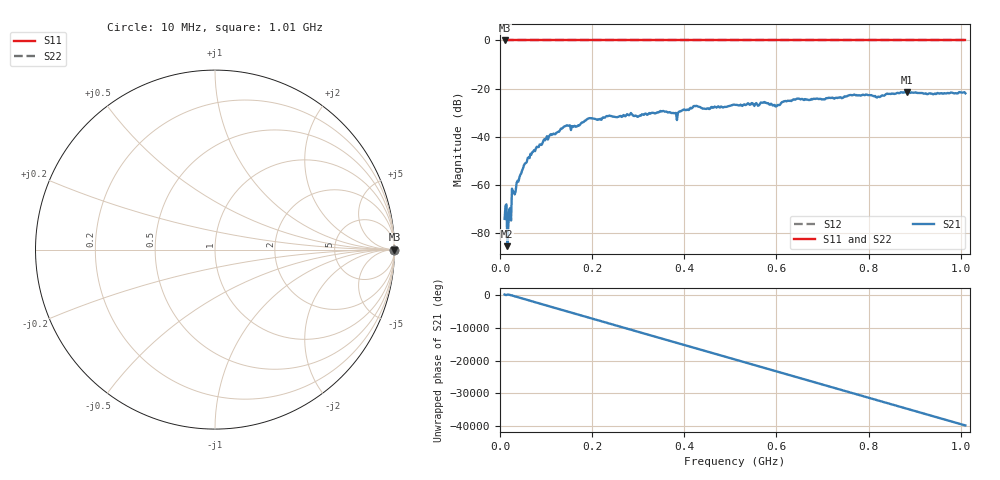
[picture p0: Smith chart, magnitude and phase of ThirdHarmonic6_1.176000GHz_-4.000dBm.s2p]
! 8/16/2025 11:57:28 AM
! C:\ANRITSUVNA\TEMP\TEMP.S2P
! CHANNEL.1
! TR.MEASUREMENT
! RAW.DATA
! RF.CORRECTION.OFF
! AVERAGING.OFF
! IF.BANDWIDTH: 5KHZ
! SWEEPTYPE:  FREQ.SWEEP(Linear)
! Reference Plane Port Info
! PORT:  PORT1  PORT2
! DISTANCE:  0  m  0  m
! TIME:  0  s  0  s
! PHASE.OFFSET:  0  deg.  0  deg.
! LOSS:  0  dB  0  dB
! REF.LOSS:  0  dB  0  dB
! REF.FREQ:  0  Hz  0  Hz
! Power Info
! POWER:  -20  dBm  -20  dBm
! EFF.POWER:  -20  dBm  -20  dBm
! SOURCE.ATTEN:  0  dB  0  dB
! TEST.ATTEN:  0  dB  0  dB
# GHZ S RI R 50.0
! FREQ.GHZ  S11RE  S11IM  S21RE  S21IM  S12RE  S12IM  S22RE  S22IM
!; PortSelection: Port_12
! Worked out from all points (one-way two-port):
!   501 points, 10 MHz to 1.01 GHz, reference 50 ohm
!   highest |S21| = -21.41 dB at 884 MHz (marker M1); lowest = -85.4 dB at 16 MHz (marker M2)
!   lowest |S11| = 0.0 dB at 10 MHz (marker M3)
!   |S11| at or under -10 dB: nowhere
!   |S22| runs from 0.0 to 0.0 dB; largest |S21 - S12| = 1.1
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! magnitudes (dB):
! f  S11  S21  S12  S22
! 10 MHz  0.0  -74.1  0.0  0.0
! 16 MHz  0.0  -85.4  0.0  0.0
! 20 MHz  0.0  -70.1  0.0  0.0
! 24 MHz  0.0  -74.7  0.0  0.0
! 30 MHz  0.0  -62.8  0.0  0.0
! 52 MHz  0.0  -51.8  0.0  0.0
! 70 MHz  0.0  -46.4  0.0  0.0
! 98 MHz  0.0  -41.4  0.0  0.0
! 140 MHz  0.0  -35.7  0.0  0.0
! 178 MHz  0.0  -34.0  0.0  0.0
! 194 MHz  0.0  -32.3  0.0  0.0
! 344 MHz  0.0  -29.9  0.0  0.0
! 382 MHz  0.0  -30.1  0.0  0.0
! 424 MHz  0.0  -27.3  0.0  0.0
! 450 MHz  0.0  -28.2  0.0  0.0
! 510 MHz  0.0  -26.7  0.0  0.0
! 602 MHz  0.0  -26.8  0.0  0.0
! 646 MHz  0.0  -24.2  0.0  0.0
! 678 MHz  0.0  -24.5  0.0  0.0
! 844 MHz  0.0  -22.2  0.0  0.0
! 884 MHz  0.0  -21.4  0.0  0.0
! 1.01 GHz  0.0  -21.9  0.0  0.0
